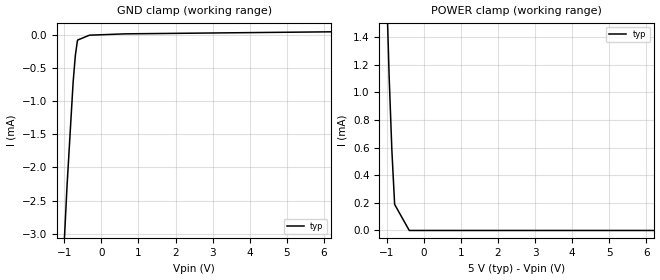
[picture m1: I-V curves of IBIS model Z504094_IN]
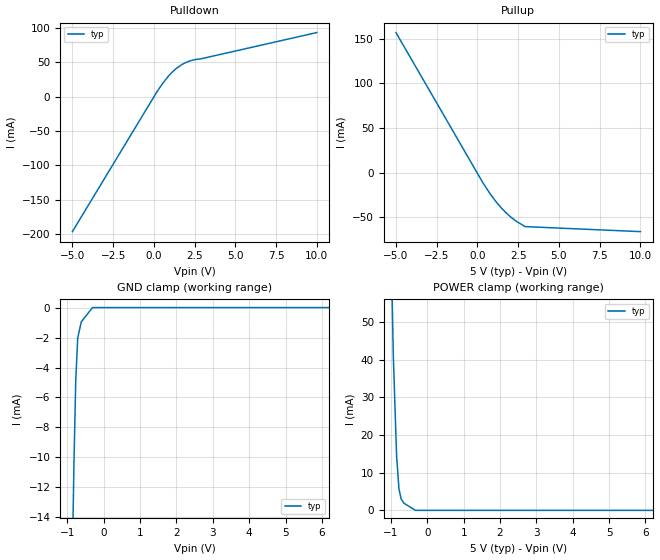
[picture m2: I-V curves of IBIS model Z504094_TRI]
| YOU ARE ONLY AUTHORIZED TO USE THIS SOFTWARE
| ACCORDING TO LICENSOR'S LICENSE RESTRICTIONS.
[IBIS Ver] 3.1
[File Name] mc54hc373aj.ibs
[File Rev] 2.0
[Source] Measured and created by ICX Technology
[Date] Friday 7/14/00 9:08:06 AM
[Copyright]
| (C) COPYRIGHT 1993-2000
| MENTOR GRAPHICS CORPORATION
| ICX STANDARD LIBRARY, ICX PROJECT MODELING,
| ICX CUSTOM MODELING, ICX VENDOR MODEL
| ALL RIGHTS RESERVED.
| THE FOLLOWING ARE TRADEMARKS OR SERVICE MARKS OF
| MENTOR GRAPHICS CORPORATION:ICX (R), ICX STANDARD
| LIBRARY(R), ICX PROJECT MODELING(R), ICX CUSTOM
| MODELING(R), qualityIBIS(TM), MODELVIEWER(TM),
| AND MODELEDITOR(TM)
| ALL COPIES OF SOFTWARE, INCLUDING BUT NOT LIMITED TO
| ANY MODIFICATIONS, ENHANCEMENTS OR DERIVATIVE WORKS,
| MUST CONTAIN ALL MENTOR GRAPHICS CORPORATION'S
| NOTICES AND LEGENDS, INCLUDING THOSE EMBEDDED IN
| SOFTWARE AND THOSE AFFIXED TO SOFTWARE MEDIUM
| AND CONTAINER, AS RECEIVED FROM MENTOR GRAPHICS
| CORPORATION.
|  ZAP Model Builder 2.7
[Component] MC54HC373AJ
[Manufacturer] OnSemiconductor
[Package]
| variable   typ   min   max
R_pkg  .216ohms NA NA
L_pkg  5.76nH NA NA
C_pkg  2.193pF NA NA
[Pin] signal_name  model_name  R_pin  L_pin C_pin
1 _G Z504094_IN .232 9.76n 3.179p
2 Q0 Z504094_TRI .224 7.26n 2.686p
3 D0 Z504094_IN .216 5.26n 2.193p
4 D1 Z504094_IN .208 3.76n 1.7p
5 Q1 Z504094_TRI .2 2.76n 1.207p
6 Q2 Z504094_TRI .2 2.76n 1.207p
7 D2 Z504094_IN .208 3.76n 1.7p
8 D3 Z504094_IN .216 5.26n 2.193p
9 Q3 Z504094_TRI .224 7.26n 2.686p
10 GND GND .232 9.76n 3.179p
11 C Z504094_IN .232 9.76n 3.179p
12 Q4 Z504094_TRI .224 7.26n 2.686p
13 D4 Z504094_IN .216 5.26n 2.193p
14 D5 Z504094_IN .208 3.76n 1.7p
15 Q5 Z504094_TRI .2 2.76n 1.207p
16 Q6 Z504094_TRI .2 2.76n 1.207p
17 D6 Z504094_IN .208 3.76n 1.7p
18 D7 Z504094_IN .216 5.26n 2.193p
19 Q7 Z504094_TRI .224 7.26n 2.686p
20 VCC POWER .232 9.76n 3.179p
| Models and submodels in the file (2): Z504094_IN (Input), Z504094_TRI (3-state)
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| (C) COPYRIGHT 1993-2000
| MENTOR GRAPHICS CORPORATION
| ICX STANDARD LIBRARY, ICX PROJECT MODELING,
| ICX CUSTOM MODELING, ICX VENDOR MODEL
| ALL RIGHTS RESERVED.
| THE FOLLOWING ARE TRADEMARKS OR SERVICE MARKS OF
| MENTOR GRAPHICS CORPORATION:ICX (R), ICX STANDARD
| LIBRARY(R), ICX PROJECT MODELING(R), ICX CUSTOM
| MODELING(R), qualityIBIS(TM), MODELVIEWER(TM),
| AND MODELEDITOR(TM)
| ALL COPIES OF SOFTWARE, INCLUDING BUT NOT LIMITED TO
| ANY MODIFICATIONS, ENHANCEMENTS OR DERIVATIVE WORKS,
| MUST CONTAIN ALL MENTOR GRAPHICS CORPORATION'S
| NOTICES AND LEGENDS, INCLUDING THOSE EMBEDDED IN
| SOFTWARE AND THOSE AFFIXED TO SOFTWARE MEDIUM
| AND CONTAINER, AS RECEIVED FROM MENTOR GRAPHICS
| CORPORATION.
| Model Application Version 1.89 2/18/99.
[Model] Z504094_IN
Model_type Input
Vinl = 1.000V
Vinh = 3.500V
C_comp 4.000pF NA NA
| variable typ   min   max
[Voltage Range] 5.000V NA NA
[GND Clamp Reference] 0.000V NA NA
[POWER Clamp Reference] 5.000V NA NA
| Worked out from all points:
|   GND clamp passes 1 mA (typ) near -0.79 V on its own axis
|   POWER clamp passes 1 mA (typ) near -0.92 V on its own axis
[GND Clamp]
-5V       -48.24mA   NA         NA
-926mV    -2.272mA   NA         NA
-761.7mV  -711.3uA   NA         NA
-702.9mV  -316.2uA   NA         NA
-644.6mV  -81.73uA   NA         NA
-322.3mV  -7.49uA    NA         NA
646.9mV   12.71uA    NA         NA
10V       64.36uA    NA         NA
[POWER Clamp]
-5V       46.14mA    NA         NA
-1.391V   5.693mA    NA         NA
-1.084V   2.465mA    NA         NA
-937mV    1.113mA    NA         NA
-864mV    581.1uA    NA         NA
-789mV    188.5uA    NA         NA
-394.5mV  0A         NA         NA
10V       0A         NA         NA
| (C) COPYRIGHT 1993-2000
| MENTOR GRAPHICS CORPORATION
| ICX STANDARD LIBRARY, ICX PROJECT MODELING,
| ICX CUSTOM MODELING, ICX VENDOR MODEL
| ALL RIGHTS RESERVED.
| THE FOLLOWING ARE TRADEMARKS OR SERVICE MARKS OF
| MENTOR GRAPHICS CORPORATION:ICX (R), ICX STANDARD
| LIBRARY(R), ICX PROJECT MODELING(R), ICX CUSTOM
| MODELING(R), qualityIBIS(TM), MODELVIEWER(TM),
| AND MODELEDITOR(TM)
| ALL COPIES OF SOFTWARE, INCLUDING BUT NOT LIMITED TO
| ANY MODIFICATIONS, ENHANCEMENTS OR DERIVATIVE WORKS,
| MUST CONTAIN ALL MENTOR GRAPHICS CORPORATION'S
| NOTICES AND LEGENDS, INCLUDING THOSE EMBEDDED IN
| SOFTWARE AND THOSE AFFIXED TO SOFTWARE MEDIUM
| AND CONTAINER, AS RECEIVED FROM MENTOR GRAPHICS
| CORPORATION.
| Model Application Version 1.89 2/18/99.
[Model] Z504094_TRI
Model_type 3-state
Vref=0.000V
Rref=500.0Mohms
Cref=50.00pF
Vmeas=2.500V
C_comp 8.000pF NA NA
| variable typ   min   max
[Voltage Range] 5.000V NA NA
[POWER Clamp Reference] 5.000V NA NA
[Pullup Reference] 5.000V NA NA
[Pulldown Reference] 0.000V NA NA
[GND Clamp Reference] 0.000V NA NA
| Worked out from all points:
|   slope of the pulldown table from 0 to 0.75 V, typ, clamps not added: 29 ohm
|   slope of the pullup table from 0 to 0.75 V, typ, clamps not added: 33.8 ohm
|   GND clamp passes 1 mA (typ) near -0.62 V on its own axis
[GND Clamp]
-5V       -613.8mA   NA         NA
-820.3mV  -10.41mA   NA         NA
-771mV    -4.881mA   NA         NA
-717.3mV  -2.041mA   NA         NA
-619.9mV  -958uA     NA         NA
-309.9mV  0A         NA         NA
10V       0A         NA         NA
[Pulldown]
-5V       -196.6mA   NA         NA
182.3mV   7.008mA    NA         NA
910mV     30.57mA    NA         NA
1.319V    40.1mA     NA         NA
1.929V    49.51mA    NA         NA
2.442V    53.71mA    NA         NA
10V       93.56mA    NA         NA
[Pullup]
-5V       157.1mA    NA         NA
352mV     -12.07mA   NA         NA
777mV     -23.85mA   NA         NA
1.148V    -32.98mA   NA         NA
1.476V    -40mA      NA         NA
1.753V    -45.18mA   NA         NA
1.987V    -49.06mA   NA         NA
2.3V      -53.62mA   NA         NA
2.456V    -55.54mA   NA         NA
2.871V    -60.09mA   NA         NA
2.91V     -60.66mA   NA         NA
10V       -66.33mA   NA         NA
[POWER Clamp]
-5V       2.018A     NA         NA
-937mV    41.46mA    NA         NA
-846mV    14.58mA    NA         NA
-781mV    5.735mA    NA         NA
-723mV    3.109mA    NA         NA
-648mV    1.92mA     NA         NA
-324mV    0A         NA         NA
10V       0A         NA         NA
[Ramp]
| variable typ min max
dV/dt_r 2.836/1.869n NA NA
dV/dt_f 2.836/1.583n NA NA
R_load = 500.0Ohms
